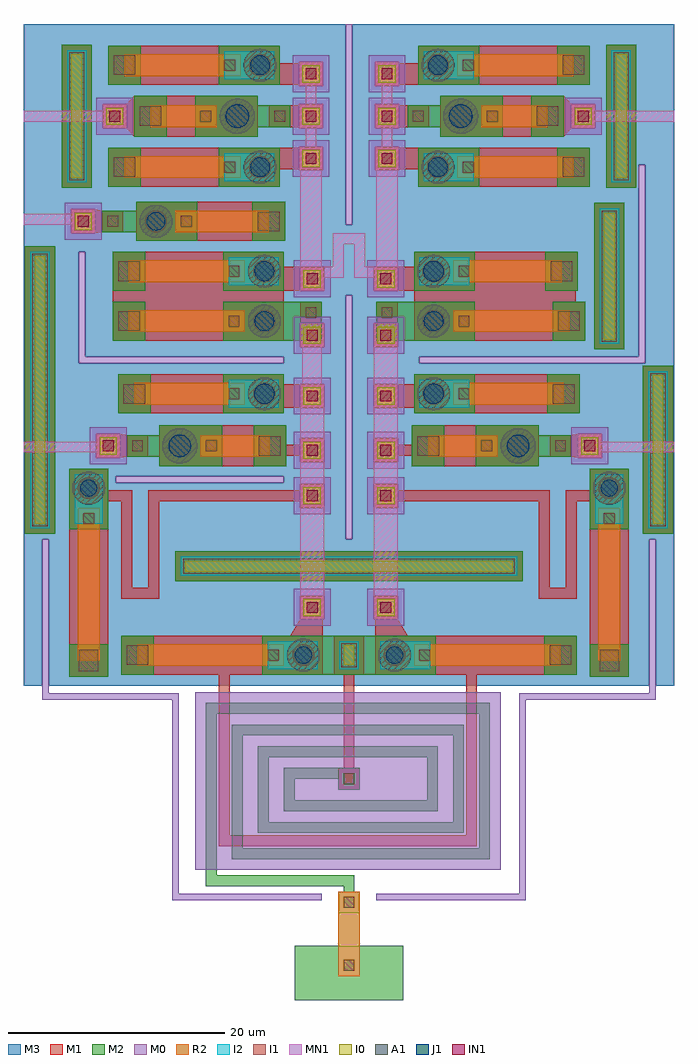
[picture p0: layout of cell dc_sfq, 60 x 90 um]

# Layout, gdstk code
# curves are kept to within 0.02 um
from math import pi, radians
import gdstk
lib = gdstk.Library(unit=1e-6, precision=1e-09)
def R(c, l, rs):  # rectangles x0, y0, x1, y1
    for r in rs: c.add(gdstk.rectangle(r[:2], r[2:], *l))
def P(c, l, *ps):  # polygons
    for p in ps: c.add(gdstk.Polygon(p, *l))
M1 = (1, 0)
I1 = (3, 0)
J1 = (4, 0)
A1 = (5, 0)
M2 = (6, 0)
I2 = (8, 0)
R2 = (9, 0)
M3 = (10, 0)
M0 = (30, 0)
I0 = (31, 0)
IN1 = (32, 0)
MN1 = (34, 0)

ak_qc6vm21 = lib.new_cell('ak_qc6vm21')
R(ak_qc6vm21, M1, [(-1,-1,1,1)])
R(ak_qc6vm21, I1, [(-0.5,-0.5,0.5,0.5)])
R(ak_qc6vm21, M2, [(-1,-1,1,1)])

ak_qc6p03r90 = lib.new_cell('ak_qc6p03r90')
R(ak_qc6p03r90, I1, [(-0.9,-11.2,0.9,-9.2), (-0.5,-1.5,0.5,-0.5)])
R(ak_qc6p03r90, M2, [(-1.4,-11.7,1.4,-8.7), (-1.4,-2,1.4,0)])
R(ak_qc6p03r90, R2, [(-1,-10.2,1,0)])

ak_qc6p02j14 = lib.new_cell('ak_qc6p02j14')
P(ak_qc6p02j14, M1, [(-0.031,-1.8),(-0.374,-1.761),(-0.703,-1.657),(-1.007,-1.492),(-1.273,-1.273),(-1.51,-0.98),(-1.669,-0.674),(-1.773,-0.313),(-1.8,0.031),(-1.761,0.374),(-1.657,0.703),(-1.492,1.007),(-1.273,1.273),(-0.98,1.51),(-0.674,1.669),(-0.313,1.773),(0.031,1.8),(0.374,1.761),(0.703,1.657),(1.007,1.492),(1.273,1.273),(1.51,0.98),(1.669,0.674),(1.773,0.313),(1.8,-0.031),(1.761,-0.374),(1.657,-0.703),(1.492,-1.007),(1.273,-1.273),(0.98,-1.51),(0.674,-1.669),(0.313,-1.773)])
P(ak_qc6p02j14, I1, [(-0.017,-1),(-0.391,-0.921),(-0.719,-0.695),(-0.921,-0.391),(-0.982,-0.191),(-1,0.017),(-0.921,0.391),(-0.695,0.719),(-0.391,0.921),(-0.191,0.982),(0.017,1),(0.391,0.921),(0.719,0.695),(0.921,0.391),(0.982,0.191),(1,-0.017),(0.921,-0.391),(0.695,-0.719),(0.391,-0.921),(0.191,-0.982)])
P(ak_qc6p02j14, J1, [(-0.16,-0.92),(-0.52,-0.78),(-0.8,-0.48),(-0.92,-0.16),(-0.92,0.16),(-0.8,0.48),(-0.54,0.76),(-0.36,0.86),(-0.16,0.92),(0.16,0.92),(0.52,0.78),(0.8,0.48),(0.92,0.16),(0.92,-0.16),(0.8,-0.48),(0.54,-0.76),(0.36,-0.86),(0.16,-0.92)])
P(ak_qc6p02j14, A1, [(-0.026,-1.5),(-0.337,-1.462),(-0.586,-1.381),(-0.839,-1.244),(-1.061,-1.061),(-1.244,-0.839),(-1.391,-0.562),(-1.482,-0.235),(-1.5,0.026),(-1.462,0.337),(-1.381,0.586),(-1.244,0.839),(-1.061,1.061),(-0.839,1.244),(-0.562,1.391),(-0.235,1.482),(0.026,1.5),(0.337,1.462),(0.586,1.381),(0.839,1.244),(1.061,1.061),(1.244,0.839),(1.391,0.562),(1.482,0.235),(1.5,-0.026),(1.462,-0.337),(1.381,-0.586),(1.244,-0.839),(1.061,-1.061),(0.839,-1.244),(0.562,-1.391),(0.235,-1.482)])
P(ak_qc6p02j14, M2, [(-0.031,-1.8),(-0.374,-1.761),(-0.703,-1.657),(-1.007,-1.492),(-1.273,-1.273),(-1.51,-0.98),(-1.669,-0.674),(-1.773,-0.313),(-1.8,0.031),(-1.761,0.374),(-1.657,0.703),(-1.492,1.007),(-1.273,1.273),(-0.98,1.51),(-0.674,1.669),(-0.313,1.773),(0.031,1.8),(0.374,1.761),(0.703,1.657),(1.007,1.492),(1.273,1.273),(1.51,0.98),(1.669,0.674),(1.773,0.313),(1.8,-0.031),(1.761,-0.374),(1.657,-0.703),(1.492,-1.007),(1.273,-1.273),(0.98,-1.51),(0.674,-1.669),(0.313,-1.773)])

ak_qc6p02j14s = lib.new_cell('ak_qc6p02j14s')
R(ak_qc6p02j14s, M1, [(-1.8,-13.5,1.8,1.8)])
R(ak_qc6p02j14s, M2, [(-1.8,-13.5,1.8,-10.5), (-1.8,-3.8,1.8,1.8)])
ak_qc6p02j14s.add(gdstk.Reference(ak_qc6p03r90, (0,-1.8)))
ak_qc6p02j14s.add(gdstk.Reference(ak_qc6p02j14, (0,0)))

ak_qc6p02j14sgu = lib.new_cell('ak_qc6p02j14sgu')
R(ak_qc6p02j14sgu, I2, [(-1.3,-3.3,1.3,1.3)])
R(ak_qc6p02j14sgu, M3, [(-1.8,-3.8,1.8,1.8)])
ak_qc6p02j14sgu.add(gdstk.Reference(ak_qc6p02j14s, (0,0)))

ak_qc6vm2r2 = lib.new_cell('ak_qc6vm2r2')
R(ak_qc6vm2r2, I1, [(-0.5,-0.5,0.5,0.5)])
R(ak_qc6vm2r2, M2, [(-1,-1,1,1)])
R(ak_qc6vm2r2, R2, [(-1,-1,1,1)])

ak_qc6mon11 = lib.new_cell('ak_qc6mon11')
R(ak_qc6mon11, M2, [(-5,5,5,10)])
ak_qc6mon11.add(gdstk.FlexPath([(0,2),(0,5.8)], 2, ends="flush", simple_path=True, layer=9, datatype=0))  # R2
ak_qc6mon11.add(gdstk.Reference(ak_qc6vm2r2, (0,6.8), rotation=pi))
ak_qc6mon11.add(gdstk.Reference(ak_qc6vm2r2, (0,1), rotation=pi))

ak_qc6vm1mn1 = lib.new_cell('ak_qc6vm1mn1')
R(ak_qc6vm1mn1, M1, [(-1.1,-1.1,1.1,1.1)])
R(ak_qc6vm1mn1, I0, [(-0.8,-0.8,0.8,0.8)])
R(ak_qc6vm1mn1, IN1, [(-0.5,-0.5,0.5,0.5)])
R(ak_qc6vm1mn1, MN1, [(-1.1,-1.1,1.1,1.1)])
ak_qc6vm1mn1.add(gdstk.FlexPath([(-1.4,1.7),(-1.4,-1.4),(1.4,-1.4),(1.4,1.4),(-1.1,1.4)], 0.6, ends="flush", simple_path=True, layer=30, datatype=0))  # M0

ak_qc6p05r84 = lib.new_cell('ak_qc6p05r84')
R(ak_qc6p05r84, I1, [(-0.9,-15.1,0.9,-13.1), (-0.5,-1.5,0.5,-0.5)])
R(ak_qc6p05r84, M2, [(-1.4,-15.6,1.4,-12.6), (-1.4,-2,1.4,0)])
R(ak_qc6p05r84, R2, [(-1,-14.1,1,0)])

ak_qc6p01j43 = lib.new_cell('ak_qc6p01j43')
P(ak_qc6p01j43, M1, [(-0.031,-1.8),(-0.374,-1.761),(-0.703,-1.657),(-1.007,-1.492),(-1.273,-1.273),(-1.51,-0.98),(-1.669,-0.674),(-1.773,-0.313),(-1.8,0.031),(-1.761,0.374),(-1.657,0.703),(-1.492,1.007),(-1.273,1.273),(-0.98,1.51),(-0.674,1.669),(-0.313,1.773),(0.031,1.8),(0.374,1.761),(0.703,1.657),(1.007,1.492),(1.273,1.273),(1.51,0.98),(1.669,0.674),(1.773,0.313),(1.8,-0.031),(1.761,-0.374),(1.657,-0.703),(1.492,-1.007),(1.273,-1.273),(0.98,-1.51),(0.674,-1.669),(0.313,-1.773)])
P(ak_qc6p01j43, I1, [(-0.017,-1),(-0.391,-0.921),(-0.719,-0.695),(-0.921,-0.391),(-0.982,-0.191),(-1,0.017),(-0.921,0.391),(-0.695,0.719),(-0.391,0.921),(-0.191,0.982),(0.017,1),(0.391,0.921),(0.719,0.695),(0.921,0.391),(0.982,0.191),(1,-0.017),(0.921,-0.391),(0.695,-0.719),(0.391,-0.921),(0.191,-0.982)])
P(ak_qc6p01j43, J1, [(-0.08,-0.78),(-0.26,-0.74),(-0.42,-0.66),(-0.6,-0.5),(-0.76,-0.18),(-0.78,0.08),(-0.74,0.26),(-0.64,0.46),(-0.44,0.64),(-0.26,0.74),(0.08,0.78),(0.26,0.74),(0.42,0.66),(0.66,0.42),(0.76,0.18),(0.78,-0.08),(0.66,-0.42),(0.52,-0.58),(0.3,-0.72),(0.08,-0.78)])
P(ak_qc6p01j43, A1, [(-0.026,-1.5),(-0.337,-1.462),(-0.586,-1.381),(-0.839,-1.244),(-1.061,-1.061),(-1.244,-0.839),(-1.391,-0.562),(-1.482,-0.235),(-1.5,0.026),(-1.462,0.337),(-1.381,0.586),(-1.244,0.839),(-1.061,1.061),(-0.839,1.244),(-0.562,1.391),(-0.235,1.482),(0.026,1.5),(0.337,1.462),(0.586,1.381),(0.839,1.244),(1.061,1.061),(1.244,0.839),(1.391,0.562),(1.482,0.235),(1.5,-0.026),(1.462,-0.337),(1.381,-0.586),(1.244,-0.839),(1.061,-1.061),(0.839,-1.244),(0.562,-1.391),(0.235,-1.482)])
P(ak_qc6p01j43, M2, [(-0.031,-1.8),(-0.374,-1.761),(-0.703,-1.657),(-1.007,-1.492),(-1.273,-1.273),(-1.51,-0.98),(-1.669,-0.674),(-1.773,-0.313),(-1.8,0.031),(-1.761,0.374),(-1.657,0.703),(-1.492,1.007),(-1.273,1.273),(-0.98,1.51),(-0.674,1.669),(-0.313,1.773),(0.031,1.8),(0.374,1.761),(0.703,1.657),(1.007,1.492),(1.273,1.273),(1.51,0.98),(1.669,0.674),(1.773,0.313),(1.8,-0.031),(1.761,-0.374),(1.657,-0.703),(1.492,-1.007),(1.273,-1.273),(0.98,-1.51),(0.674,-1.669),(0.313,-1.773)])

ak_qc6p01j43s = lib.new_cell('ak_qc6p01j43s')
R(ak_qc6p01j43s, M1, [(-1.8,-17.4,1.8,1.8)])
R(ak_qc6p01j43s, M2, [(-1.8,-17.4,1.8,-14.4), (-1.8,-3.8,1.8,1.8)])
ak_qc6p01j43s.add(gdstk.Reference(ak_qc6p05r84, (0,-1.8)))
ak_qc6p01j43s.add(gdstk.Reference(ak_qc6p01j43, (0,0)))

ak_qc6p01j43sgu = lib.new_cell('ak_qc6p01j43sgu')
R(ak_qc6p01j43sgu, I2, [(-1.3,-3.3,1.3,1.3)])
R(ak_qc6p01j43sgu, M3, [(-1.8,-3.8,1.8,1.8)])
ak_qc6p01j43sgu.add(gdstk.Reference(ak_qc6p01j43s, (0,0)))

ak_qc6p04r17 = lib.new_cell('ak_qc6p04r17')
R(ak_qc6p04r17, I1, [(-0.9,-11.7,0.9,-9.7), (-0.5,-1.5,0.5,-0.5)])
R(ak_qc6p04r17, M2, [(-1.4,-12.2,1.4,-9.2), (-1.4,-2,1.4,0)])
R(ak_qc6p04r17, R2, [(-1,-10.7,1,0)])

ak_qc6p02j00 = lib.new_cell('ak_qc6p02j00')
P(ak_qc6p02j00, M1, [(-0.031,-1.8),(-0.374,-1.761),(-0.703,-1.657),(-1.007,-1.492),(-1.273,-1.273),(-1.51,-0.98),(-1.669,-0.674),(-1.773,-0.313),(-1.8,0.031),(-1.761,0.374),(-1.657,0.703),(-1.492,1.007),(-1.273,1.273),(-0.98,1.51),(-0.674,1.669),(-0.313,1.773),(0.031,1.8),(0.374,1.761),(0.703,1.657),(1.007,1.492),(1.273,1.273),(1.51,0.98),(1.669,0.674),(1.773,0.313),(1.8,-0.031),(1.761,-0.374),(1.657,-0.703),(1.492,-1.007),(1.273,-1.273),(0.98,-1.51),(0.674,-1.669),(0.313,-1.773)])
P(ak_qc6p02j00, I1, [(-0.017,-1),(-0.391,-0.921),(-0.719,-0.695),(-0.921,-0.391),(-0.982,-0.191),(-1,0.017),(-0.921,0.391),(-0.695,0.719),(-0.391,0.921),(-0.191,0.982),(0.017,1),(0.391,0.921),(0.719,0.695),(0.921,0.391),(0.982,0.191),(1,-0.017),(0.921,-0.391),(0.695,-0.719),(0.391,-0.921),(0.191,-0.982)])
P(ak_qc6p02j00, J1, [(-0.12,-0.9),(-0.5,-0.76),(-0.74,-0.52),(-0.86,-0.28),(-0.9,-0.12),(-0.9,0.12),(-0.78,0.46),(-0.52,0.74),(-0.22,0.88),(0.1,0.9),(0.46,0.78),(0.72,0.54),(0.88,0.22),(0.9,-0.1),(0.84,-0.34),(0.76,-0.5),(0.54,-0.72),(0.38,-0.82),(0.2,-0.88)])
P(ak_qc6p02j00, A1, [(-0.026,-1.5),(-0.337,-1.462),(-0.586,-1.381),(-0.839,-1.244),(-1.061,-1.061),(-1.244,-0.839),(-1.391,-0.562),(-1.482,-0.235),(-1.5,0.026),(-1.462,0.337),(-1.381,0.586),(-1.244,0.839),(-1.061,1.061),(-0.839,1.244),(-0.562,1.391),(-0.235,1.482),(0.026,1.5),(0.337,1.462),(0.586,1.381),(0.839,1.244),(1.061,1.061),(1.244,0.839),(1.391,0.562),(1.482,0.235),(1.5,-0.026),(1.462,-0.337),(1.381,-0.586),(1.244,-0.839),(1.061,-1.061),(0.839,-1.244),(0.562,-1.391),(0.235,-1.482)])
P(ak_qc6p02j00, M2, [(-0.031,-1.8),(-0.374,-1.761),(-0.703,-1.657),(-1.007,-1.492),(-1.273,-1.273),(-1.51,-0.98),(-1.669,-0.674),(-1.773,-0.313),(-1.8,0.031),(-1.761,0.374),(-1.657,0.703),(-1.492,1.007),(-1.273,1.273),(-0.98,1.51),(-0.674,1.669),(-0.313,1.773),(0.031,1.8),(0.374,1.761),(0.703,1.657),(1.007,1.492),(1.273,1.273),(1.51,0.98),(1.669,0.674),(1.773,0.313),(1.8,-0.031),(1.761,-0.374),(1.657,-0.703),(1.492,-1.007),(1.273,-1.273),(0.98,-1.51),(0.674,-1.669),(0.313,-1.773)])

ak_qc6p02j00s = lib.new_cell('ak_qc6p02j00s')
R(ak_qc6p02j00s, M1, [(-1.8,-14,1.8,1.8)])
R(ak_qc6p02j00s, M2, [(-1.8,-14,1.8,-11), (-1.8,-3.8,1.8,1.8)])
ak_qc6p02j00s.add(gdstk.Reference(ak_qc6p04r17, (0,-1.8)))
ak_qc6p02j00s.add(gdstk.Reference(ak_qc6p02j00, (0,0)))

ak_qc6p02j00sgu = lib.new_cell('ak_qc6p02j00sgu')
R(ak_qc6p02j00sgu, I2, [(-1.3,-3.3,1.3,1.3)])
R(ak_qc6p02j00sgu, M3, [(-1.8,-3.8,1.8,1.8)])
ak_qc6p02j00sgu.add(gdstk.Reference(ak_qc6p02j00s, (0,0)))

ak_qc6p02r01 = lib.new_cell('ak_qc6p02r01')
R(ak_qc6p02r01, I1, [(-0.9,-7.4,0.9,-5.4), (-0.5,-1.5,0.5,-0.5)])
R(ak_qc6p02r01, M2, [(-1.4,-7.9,1.4,-4.9), (-1.4,-2,1.4,0)])
R(ak_qc6p02r01, R2, [(-1,-6.4,1,0)])

ak_qc6p02j77 = lib.new_cell('ak_qc6p02j77')
P(ak_qc6p02j77, M1, [(-0.033,-1.9),(-0.363,-1.865),(-0.712,-1.762),(-1.035,-1.593),(-1.344,-1.344),(-1.593,-1.035),(-1.762,-0.712),(-1.865,-0.363),(-1.9,0.033),(-1.865,0.363),(-1.762,0.712),(-1.593,1.035),(-1.344,1.344),(-1.035,1.593),(-0.712,1.762),(-0.363,1.865),(0.033,1.9),(0.363,1.865),(0.712,1.762),(1.035,1.593),(1.344,1.344),(1.593,1.035),(1.762,0.712),(1.865,0.363),(1.9,-0.033),(1.865,-0.363),(1.762,-0.712),(1.593,-1.035),(1.344,-1.344),(1.035,-1.593),(0.712,-1.762),(0.363,-1.865)])
P(ak_qc6p02j77, I1, [(-0.017,-1),(-0.391,-0.921),(-0.719,-0.695),(-0.921,-0.391),(-0.982,-0.191),(-1,0.017),(-0.921,0.391),(-0.695,0.719),(-0.391,0.921),(-0.191,0.982),(0.017,1),(0.391,0.921),(0.719,0.695),(0.921,0.391),(0.982,0.191),(1,-0.017),(0.921,-0.391),(0.695,-0.719),(0.391,-0.921),(0.191,-0.982)])
P(ak_qc6p02j77, J1, [(-0.12,-1.04),(-0.32,-1),(-0.5,-0.92),(-0.6,-0.86),(-0.84,-0.62),(-0.96,-0.42),(-1.02,-0.24),(-1.04,0.14),(-0.9,0.54),(-0.62,0.84),(-0.42,0.96),(-0.24,1.02),(0.12,1.04),(0.54,0.9),(0.82,0.64),(0.92,0.5),(1,0.3),(1.04,0.12),(1.04,-0.12),(0.92,-0.5),(0.86,-0.6),(0.64,-0.82),(0.3,-1),(0.12,-1.04)])
P(ak_qc6p02j77, A1, [(-0.028,-1.6),(-0.333,-1.565),(-0.651,-1.462),(-0.918,-1.311),(-1.151,-1.111),(-1.357,-0.848),(-1.494,-0.573),(-1.576,-0.278),(-1.6,0.028),(-1.565,0.333),(-1.462,0.651),(-1.311,0.918),(-1.111,1.151),(-0.848,1.357),(-0.573,1.494),(-0.278,1.576),(0.028,1.6),(0.333,1.565),(0.651,1.462),(0.918,1.311),(1.151,1.111),(1.357,0.848),(1.494,0.573),(1.576,0.278),(1.6,-0.028),(1.565,-0.333),(1.462,-0.651),(1.311,-0.918),(1.111,-1.151),(0.848,-1.357),(0.573,-1.494),(0.278,-1.576)])
P(ak_qc6p02j77, M2, [(-0.033,-1.9),(-0.363,-1.865),(-0.712,-1.762),(-1.035,-1.593),(-1.344,-1.344),(-1.593,-1.035),(-1.762,-0.712),(-1.865,-0.363),(-1.9,0.033),(-1.865,0.363),(-1.762,0.712),(-1.593,1.035),(-1.344,1.344),(-1.035,1.593),(-0.712,1.762),(-0.363,1.865),(0.033,1.9),(0.363,1.865),(0.712,1.762),(1.035,1.593),(1.344,1.344),(1.593,1.035),(1.762,0.712),(1.865,0.363),(1.9,-0.033),(1.865,-0.363),(1.762,-0.712),(1.593,-1.035),(1.344,-1.344),(1.035,-1.593),(0.712,-1.762),(0.363,-1.865)])

ak_qc6p02j77s0v70 = lib.new_cell('ak_qc6p02j77s0v70')
R(ak_qc6p02j77s0v70, M1, [(-1.9,-9.8,1.9,1.9)])
R(ak_qc6p02j77s0v70, M2, [(-1.9,-9.8,1.9,-6.8), (-1.9,-3.9,1.9,1.9)])
ak_qc6p02j77s0v70.add(gdstk.Reference(ak_qc6p02r01, (0,-1.9)))
ak_qc6p02j77s0v70.add(gdstk.Reference(ak_qc6p02j77, (0,0)))

ak_qc6p05r57 = lib.new_cell('ak_qc6p05r57')
R(ak_qc6p05r57, I1, [(-0.9,-14.5,0.9,-12.5), (-0.5,-1.5,0.5,-0.5)])
R(ak_qc6p05r57, M2, [(-1.4,-15,1.4,-12), (-1.4,-2,1.4,0)])
R(ak_qc6p05r57, R2, [(-1,-13.5,1,0)])

ak_qc6p01j50 = lib.new_cell('ak_qc6p01j50')
P(ak_qc6p01j50, M1, [(-0.031,-1.8),(-0.374,-1.761),(-0.703,-1.657),(-1.007,-1.492),(-1.273,-1.273),(-1.51,-0.98),(-1.669,-0.674),(-1.773,-0.313),(-1.8,0.031),(-1.761,0.374),(-1.657,0.703),(-1.492,1.007),(-1.273,1.273),(-0.98,1.51),(-0.674,1.669),(-0.313,1.773),(0.031,1.8),(0.374,1.761),(0.703,1.657),(1.007,1.492),(1.273,1.273),(1.51,0.98),(1.669,0.674),(1.773,0.313),(1.8,-0.031),(1.761,-0.374),(1.657,-0.703),(1.492,-1.007),(1.273,-1.273),(0.98,-1.51),(0.674,-1.669),(0.313,-1.773)])
P(ak_qc6p01j50, I1, [(-0.017,-1),(-0.391,-0.921),(-0.719,-0.695),(-0.921,-0.391),(-0.982,-0.191),(-1,0.017),(-0.921,0.391),(-0.695,0.719),(-0.391,0.921),(-0.191,0.982),(0.017,1),(0.391,0.921),(0.719,0.695),(0.921,0.391),(0.982,0.191),(1,-0.017),(0.921,-0.391),(0.695,-0.719),(0.391,-0.921),(0.191,-0.982)])
P(ak_qc6p01j50, J1, [(-0.04,-0.8),(-0.3,-0.74),(-0.48,-0.64),(-0.6,-0.52),(-0.76,-0.24),(-0.8,0.04),(-0.74,0.3),(-0.64,0.48),(-0.52,0.6),(-0.24,0.76),(0.04,0.8),(0.3,0.74),(0.48,0.64),(0.6,0.52),(0.76,0.24),(0.8,-0.04),(0.74,-0.3),(0.64,-0.48),(0.52,-0.6),(0.24,-0.76)])
P(ak_qc6p01j50, A1, [(-0.026,-1.5),(-0.337,-1.462),(-0.586,-1.381),(-0.839,-1.244),(-1.061,-1.061),(-1.244,-0.839),(-1.391,-0.562),(-1.482,-0.235),(-1.5,0.026),(-1.462,0.337),(-1.381,0.586),(-1.244,0.839),(-1.061,1.061),(-0.839,1.244),(-0.562,1.391),(-0.235,1.482),(0.026,1.5),(0.337,1.462),(0.586,1.381),(0.839,1.244),(1.061,1.061),(1.244,0.839),(1.391,0.562),(1.482,0.235),(1.5,-0.026),(1.462,-0.337),(1.381,-0.586),(1.244,-0.839),(1.061,-1.061),(0.839,-1.244),(0.562,-1.391),(0.235,-1.482)])
P(ak_qc6p01j50, M2, [(-0.031,-1.8),(-0.374,-1.761),(-0.703,-1.657),(-1.007,-1.492),(-1.273,-1.273),(-1.51,-0.98),(-1.669,-0.674),(-1.773,-0.313),(-1.8,0.031),(-1.761,0.374),(-1.657,0.703),(-1.492,1.007),(-1.273,1.273),(-0.98,1.51),(-0.674,1.669),(-0.313,1.773),(0.031,1.8),(0.374,1.761),(0.703,1.657),(1.007,1.492),(1.273,1.273),(1.51,0.98),(1.669,0.674),(1.773,0.313),(1.8,-0.031),(1.761,-0.374),(1.657,-0.703),(1.492,-1.007),(1.273,-1.273),(0.98,-1.51),(0.674,-1.669),(0.313,-1.773)])

ak_qc6p01j50s = lib.new_cell('ak_qc6p01j50s')
R(ak_qc6p01j50s, M1, [(-1.8,-16.8,1.8,1.8)])
R(ak_qc6p01j50s, M2, [(-1.8,-16.8,1.8,-13.8), (-1.8,-3.8,1.8,1.8)])
ak_qc6p01j50s.add(gdstk.Reference(ak_qc6p05r57, (0,-1.8)))
ak_qc6p01j50s.add(gdstk.Reference(ak_qc6p01j50, (0,0)))

ak_qc6p01j50sgu = lib.new_cell('ak_qc6p01j50sgu')
R(ak_qc6p01j50sgu, I2, [(-1.3,-3.3,1.3,1.3)])
R(ak_qc6p01j50sgu, M3, [(-1.8,-3.8,1.8,1.8)])
ak_qc6p01j50sgu.add(gdstk.Reference(ak_qc6p01j50s, (0,0)))

ak_qc6p03r79 = lib.new_cell('ak_qc6p03r79')
R(ak_qc6p03r79, I1, [(-0.9,-11,0.9,-9), (-0.5,-1.5,0.5,-0.5)])
R(ak_qc6p03r79, M2, [(-1.4,-11.5,1.4,-8.5), (-1.4,-2,1.4,0)])
R(ak_qc6p03r79, R2, [(-1,-10,1,0)])

ak_qc6p02j20 = lib.new_cell('ak_qc6p02j20')
P(ak_qc6p02j20, M1, [(-0.031,-1.8),(-0.374,-1.761),(-0.703,-1.657),(-1.007,-1.492),(-1.273,-1.273),(-1.51,-0.98),(-1.669,-0.674),(-1.773,-0.313),(-1.8,0.031),(-1.761,0.374),(-1.657,0.703),(-1.492,1.007),(-1.273,1.273),(-0.98,1.51),(-0.674,1.669),(-0.313,1.773),(0.031,1.8),(0.374,1.761),(0.703,1.657),(1.007,1.492),(1.273,1.273),(1.51,0.98),(1.669,0.674),(1.773,0.313),(1.8,-0.031),(1.761,-0.374),(1.657,-0.703),(1.492,-1.007),(1.273,-1.273),(0.98,-1.51),(0.674,-1.669),(0.313,-1.773)])
P(ak_qc6p02j20, I1, [(-0.017,-1),(-0.391,-0.921),(-0.719,-0.695),(-0.921,-0.391),(-0.982,-0.191),(-1,0.017),(-0.921,0.391),(-0.695,0.719),(-0.391,0.921),(-0.191,0.982),(0.017,1),(0.391,0.921),(0.719,0.695),(0.921,0.391),(0.982,0.191),(1,-0.017),(0.921,-0.391),(0.695,-0.719),(0.391,-0.921),(0.191,-0.982)])
P(ak_qc6p02j20, J1, [(-0.1,-0.94),(-0.44,-0.84),(-0.76,-0.56),(-0.92,-0.22),(-0.94,0.1),(-0.88,0.34),(-0.78,0.54),(-0.6,0.72),(-0.5,0.8),(-0.28,0.9),(-0.1,0.94),(0.1,0.94),(0.44,0.84),(0.76,0.56),(0.92,0.22),(0.94,-0.1),(0.88,-0.34),(0.78,-0.54),(0.6,-0.72),(0.5,-0.8),(0.28,-0.9),(0.1,-0.94)])
P(ak_qc6p02j20, A1, [(-0.026,-1.5),(-0.337,-1.462),(-0.586,-1.381),(-0.839,-1.244),(-1.061,-1.061),(-1.244,-0.839),(-1.391,-0.562),(-1.482,-0.235),(-1.5,0.026),(-1.462,0.337),(-1.381,0.586),(-1.244,0.839),(-1.061,1.061),(-0.839,1.244),(-0.562,1.391),(-0.235,1.482),(0.026,1.5),(0.337,1.462),(0.586,1.381),(0.839,1.244),(1.061,1.061),(1.244,0.839),(1.391,0.562),(1.482,0.235),(1.5,-0.026),(1.462,-0.337),(1.381,-0.586),(1.244,-0.839),(1.061,-1.061),(0.839,-1.244),(0.562,-1.391),(0.235,-1.482)])
P(ak_qc6p02j20, M2, [(-0.031,-1.8),(-0.374,-1.761),(-0.703,-1.657),(-1.007,-1.492),(-1.273,-1.273),(-1.51,-0.98),(-1.669,-0.674),(-1.773,-0.313),(-1.8,0.031),(-1.761,0.374),(-1.657,0.703),(-1.492,1.007),(-1.273,1.273),(-0.98,1.51),(-0.674,1.669),(-0.313,1.773),(0.031,1.8),(0.374,1.761),(0.703,1.657),(1.007,1.492),(1.273,1.273),(1.51,0.98),(1.669,0.674),(1.773,0.313),(1.8,-0.031),(1.761,-0.374),(1.657,-0.703),(1.492,-1.007),(1.273,-1.273),(0.98,-1.51),(0.674,-1.669),(0.313,-1.773)])

ak_qc6p02j20s = lib.new_cell('ak_qc6p02j20s')
R(ak_qc6p02j20s, M1, [(-1.8,-13.3,1.8,1.8)])
R(ak_qc6p02j20s, M2, [(-1.8,-13.3,1.8,-10.3), (-1.8,-3.8,1.8,1.8)])
ak_qc6p02j20s.add(gdstk.Reference(ak_qc6p03r79, (0,-1.8)))
ak_qc6p02j20s.add(gdstk.Reference(ak_qc6p02j20, (0,0)))

ak_qc6p02j20sgu = lib.new_cell('ak_qc6p02j20sgu')
R(ak_qc6p02j20sgu, I2, [(-1.3,-3.3,1.3,1.3)])
R(ak_qc6p02j20sgu, M3, [(-1.8,-3.8,1.8,1.8)])
ak_qc6p02j20sgu.add(gdstk.Reference(ak_qc6p02j20s, (0,0)))

ak_qc6p03r11 = lib.new_cell('ak_qc6p03r11')
R(ak_qc6p03r11, I1, [(-0.9,-9.6,0.9,-7.6), (-0.5,-1.5,0.5,-0.5)])
R(ak_qc6p03r11, M2, [(-1.4,-10.1,1.4,-7.1), (-1.4,-2,1.4,0)])
R(ak_qc6p03r11, R2, [(-1,-8.6,1,0)])

ak_qc6p01j79 = lib.new_cell('ak_qc6p01j79')
P(ak_qc6p01j79, M1, [(-0.031,-1.8),(-0.374,-1.761),(-0.703,-1.657),(-1.007,-1.492),(-1.273,-1.273),(-1.51,-0.98),(-1.669,-0.674),(-1.773,-0.313),(-1.8,0.031),(-1.761,0.374),(-1.657,0.703),(-1.492,1.007),(-1.273,1.273),(-0.98,1.51),(-0.674,1.669),(-0.313,1.773),(0.031,1.8),(0.374,1.761),(0.703,1.657),(1.007,1.492),(1.273,1.273),(1.51,0.98),(1.669,0.674),(1.773,0.313),(1.8,-0.031),(1.761,-0.374),(1.657,-0.703),(1.492,-1.007),(1.273,-1.273),(0.98,-1.51),(0.674,-1.669),(0.313,-1.773)])
P(ak_qc6p01j79, I1, [(-0.017,-1),(-0.391,-0.921),(-0.719,-0.695),(-0.921,-0.391),(-0.982,-0.191),(-1,0.017),(-0.921,0.391),(-0.695,0.719),(-0.391,0.921),(-0.191,0.982),(0.017,1),(0.391,0.921),(0.719,0.695),(0.921,0.391),(0.982,0.191),(1,-0.017),(0.921,-0.391),(0.695,-0.719),(0.391,-0.921),(0.191,-0.982)])
P(ak_qc6p01j79, J1, [(-0.1,-0.86),(-0.48,-0.72),(-0.68,-0.52),(-0.84,-0.2),(-0.86,0.08),(-0.82,0.28),(-0.74,0.44),(-0.5,0.7),(-0.2,0.84),(0.08,0.86),(0.44,0.74),(0.7,0.5),(0.84,0.2),(0.86,-0.08),(0.8,-0.32),(0.72,-0.48),(0.5,-0.7),(0.26,-0.82)])
P(ak_qc6p01j79, A1, [(-0.026,-1.5),(-0.337,-1.462),(-0.586,-1.381),(-0.839,-1.244),(-1.061,-1.061),(-1.244,-0.839),(-1.391,-0.562),(-1.482,-0.235),(-1.5,0.026),(-1.462,0.337),(-1.381,0.586),(-1.244,0.839),(-1.061,1.061),(-0.839,1.244),(-0.562,1.391),(-0.235,1.482),(0.026,1.5),(0.337,1.462),(0.586,1.381),(0.839,1.244),(1.061,1.061),(1.244,0.839),(1.391,0.562),(1.482,0.235),(1.5,-0.026),(1.462,-0.337),(1.381,-0.586),(1.244,-0.839),(1.061,-1.061),(0.839,-1.244),(0.562,-1.391),(0.235,-1.482)])
P(ak_qc6p01j79, M2, [(-0.031,-1.8),(-0.374,-1.761),(-0.703,-1.657),(-1.007,-1.492),(-1.273,-1.273),(-1.51,-0.98),(-1.669,-0.674),(-1.773,-0.313),(-1.8,0.031),(-1.761,0.374),(-1.657,0.703),(-1.492,1.007),(-1.273,1.273),(-0.98,1.51),(-0.674,1.669),(-0.313,1.773),(0.031,1.8),(0.374,1.761),(0.703,1.657),(1.007,1.492),(1.273,1.273),(1.51,0.98),(1.669,0.674),(1.773,0.313),(1.8,-0.031),(1.761,-0.374),(1.657,-0.703),(1.492,-1.007),(1.273,-1.273),(0.98,-1.51),(0.674,-1.669),(0.313,-1.773)])

ak_qc6p01j79s0v70 = lib.new_cell('ak_qc6p01j79s0v70')
R(ak_qc6p01j79s0v70, M1, [(-1.8,-11.9,1.8,1.8)])
R(ak_qc6p01j79s0v70, M2, [(-1.8,-11.9,1.8,-8.9), (-1.8,-3.8,1.8,1.8)])
ak_qc6p01j79s0v70.add(gdstk.Reference(ak_qc6p03r11, (0,-1.8)))
ak_qc6p01j79s0v70.add(gdstk.Reference(ak_qc6p01j79, (0,0)))

ak_qc6p01r86 = lib.new_cell('ak_qc6p01r86')
R(ak_qc6p01r86, I1, [(-0.9,-7.1,0.9,-5.1), (-0.5,-1.5,0.5,-0.5)])
R(ak_qc6p01r86, M2, [(-1.4,-7.6,1.4,-4.6), (-1.4,-2,1.4,0)])
R(ak_qc6p01r86, R2, [(-1,-6.1,1,0)])

ak_qc6p03j00 = lib.new_cell('ak_qc6p03j00')
P(ak_qc6p03j00, M1, [(-0.033,-1.9),(-0.363,-1.865),(-0.712,-1.762),(-1.035,-1.593),(-1.344,-1.344),(-1.593,-1.035),(-1.762,-0.712),(-1.865,-0.363),(-1.9,0.033),(-1.865,0.363),(-1.762,0.712),(-1.593,1.035),(-1.344,1.344),(-1.035,1.593),(-0.712,1.762),(-0.363,1.865),(0.033,1.9),(0.363,1.865),(0.712,1.762),(1.035,1.593),(1.344,1.344),(1.593,1.035),(1.762,0.712),(1.865,0.363),(1.9,-0.033),(1.865,-0.363),(1.762,-0.712),(1.593,-1.035),(1.344,-1.344),(1.035,-1.593),(0.712,-1.762),(0.363,-1.865)])
P(ak_qc6p03j00, I1, [(-0.019,-1.1),(-0.229,-1.076),(-0.43,-1.013),(-0.778,-0.778),(-1.013,-0.43),(-1.08,-0.21),(-1.1,0.019),(-1.076,0.229),(-1.013,0.43),(-0.778,0.778),(-0.43,1.013),(-0.21,1.08),(0.019,1.1),(0.229,1.076),(0.43,1.013),(0.778,0.778),(1.013,0.43),(1.08,0.21),(1.1,-0.019),(1.076,-0.229),(1.013,-0.43),(0.778,-0.778),(0.43,-1.013),(0.21,-1.08)])
P(ak_qc6p03j00, J1, [(-0.12,-1.08),(-0.42,-1),(-0.58,-0.92),(-0.86,-0.66),(-1.04,-0.3),(-1.08,0.1),(-1.04,0.32),(-0.94,0.54),(-0.7,0.82),(-0.5,0.96),(-0.3,1.04),(-0.12,1.08),(0.12,1.08),(0.42,1),(0.58,0.92),(0.86,0.66),(1.04,0.3),(1.08,-0.1),(1.04,-0.32),(0.94,-0.54),(0.7,-0.82),(0.5,-0.96),(0.3,-1.04),(0.12,-1.08)])
P(ak_qc6p03j00, A1, [(-0.028,-1.6),(-0.333,-1.565),(-0.651,-1.462),(-0.918,-1.311),(-1.151,-1.111),(-1.357,-0.848),(-1.494,-0.573),(-1.576,-0.278),(-1.6,0.028),(-1.565,0.333),(-1.462,0.651),(-1.311,0.918),(-1.111,1.151),(-0.848,1.357),(-0.573,1.494),(-0.278,1.576),(0.028,1.6),(0.333,1.565),(0.651,1.462),(0.918,1.311),(1.151,1.111),(1.357,0.848),(1.494,0.573),(1.576,0.278),(1.6,-0.028),(1.565,-0.333),(1.462,-0.651),(1.311,-0.918),(1.111,-1.151),(0.848,-1.357),(0.573,-1.494),(0.278,-1.576)])
P(ak_qc6p03j00, M2, [(-0.033,-1.9),(-0.363,-1.865),(-0.712,-1.762),(-1.035,-1.593),(-1.344,-1.344),(-1.593,-1.035),(-1.762,-0.712),(-1.865,-0.363),(-1.9,0.033),(-1.865,0.363),(-1.762,0.712),(-1.593,1.035),(-1.344,1.344),(-1.035,1.593),(-0.712,1.762),(-0.363,1.865),(0.033,1.9),(0.363,1.865),(0.712,1.762),(1.035,1.593),(1.344,1.344),(1.593,1.035),(1.762,0.712),(1.865,0.363),(1.9,-0.033),(1.865,-0.363),(1.762,-0.712),(1.593,-1.035),(1.344,-1.344),(1.035,-1.593),(0.712,-1.762),(0.363,-1.865)])

ak_qc6p03j00s0v70 = lib.new_cell('ak_qc6p03j00s0v70')
R(ak_qc6p03j00s0v70, M1, [(-1.9,-9.5,1.9,1.9)])
R(ak_qc6p03j00s0v70, M2, [(-1.9,-9.5,1.9,-6.5), (-1.9,-3.9,1.9,1.9)])
ak_qc6p03j00s0v70.add(gdstk.Reference(ak_qc6p01r86, (0,-1.9)))
ak_qc6p03j00s0v70.add(gdstk.Reference(ak_qc6p03j00, (0,0)))

ak_qc6ctl000 = lib.new_cell('ak_qc6ctl000')
P(ak_qc6ctl000, M1, [(3.1,16.3),(3.9,17),(6.1,17),(6.9,16.3)])
R(ak_qc6ctl000, M3, [(-1.6,-1.8,11.6,23)])
ak_qc6ctl000.add(gdstk.FlexPath([(11.6,21.6),(-1.6,21.6)], 2.8, ends="flush", simple_path=True, layer=6, datatype=0))  # M2
ak_qc6ctl000.add(gdstk.FlexPath([(5,3.9),(5,4.9)], 2, ends="flush", simple_path=True, layer=6, datatype=0))  # M2
ak_qc6ctl000.add(gdstk.FlexPath([(11.6,21.6),(-1.6,21.6)], 2.8, ends="flush", simple_path=True, layer=1, datatype=0))  # M1
ak_qc6ctl000.add(gdstk.FlexPath([(1.1,1.1),(1.1,2.9)], 2, ends="flush", simple_path=True, layer=1, datatype=0))  # M1
ak_qc6ctl000.add(gdstk.FlexPath([(8.9,1.1),(8.9,2.9)], 2, ends="flush", simple_path=True, layer=1, datatype=0))  # M1
ak_qc6ctl000.add(gdstk.FlexPath([(5,1.9),(5,1.1)], 2, ends="flush", simple_path=True, layer=1, datatype=0))  # M1
ak_qc6ctl000.add(gdstk.FlexPath([(10.9,21.6),(-0.9,21.6)], 1.4, ends="flush", simple_path=True, layer=3, datatype=0))  # I1
ak_qc6ctl000.add(gdstk.FlexPath([(11.1,21.6),(-1.1,21.6)], 1.8, ends="flush", simple_path=True, layer=8, datatype=0))  # I2
ak_qc6ctl000.add(gdstk.FlexPath([(11.6,21.6),(-1.6,21.6)], 2.8, ends="flush", simple_path=True, layer=10, datatype=0))  # M3
ak_qc6ctl000.add(gdstk.FlexPath([(5,17.8),(5,23)], 1, ends="flush", simple_path=True, layer=34, datatype=0))  # MN1
ak_qc6ctl000.add(gdstk.FlexPath([(2.2,0),(3.9,0)], 1, ends="flush", simple_path=True, layer=34, datatype=0))  # MN1
ak_qc6ctl000.add(gdstk.FlexPath([(7.8,0),(6.1,0)], 1, ends="flush", simple_path=True, layer=34, datatype=0))  # MN1
ak_qc6ctl000.add(gdstk.FlexPath([(10.7,21.6),(-0.7,21.6)], 1, ends="flush", simple_path=True, layer=31, datatype=0))  # I0
ak_qc6ctl000.add(gdstk.Reference(ak_qc6vm21, (5,2.9)))
ak_qc6ctl000.add(gdstk.Reference(ak_qc6vm1mn1, (5,18.1)))
ak_qc6ctl000.add(gdstk.Reference(ak_qc6vm1mn1, (8.9,0), rotation=pi, x_reflection=True))
ak_qc6ctl000.add(gdstk.Reference(ak_qc6vm1mn1, (5,0)))
ak_qc6ctl000.add(gdstk.Reference(ak_qc6vm1mn1, (1.1,0)))
ak_qc6ctl000.add(gdstk.Reference(ak_qc6p03j00s0v70, (5,6.8), rotation=pi))
ak_qc6ctl000.add(gdstk.Reference(ak_qc6p02j00sgu, (9.7,4.7), rotation=pi))
ak_qc6ctl000.add(gdstk.Reference(ak_qc6p02j00sgu, (0.3,4.7), x_reflection=True))

dc_sfq = lib.new_cell('dc_sfq')
R(dc_sfq, M1, [(-6,-35.4,-4.5,-33.2), (4.5,-35.4,6,-33.2), (-21.8,-25.6,-6,-24.6), (6,-25.6,20.9,-24.6), (-6,-24.6,-4.5,-22.4), (4.5,-24.6,6,-22.4)])
P(dc_sfq, M1, [(-23.4,-19.3),(-23.4,-17.1),(-22.8,-17.2),(-22.8,-19.2)],
  [(-21.1,-40),(-21.1,-37.8),(-20.5,-37.9),(-20.5,-39.9)],
  [(21.1,-40),(20.5,-39.9),(20.5,-37.9),(21.1,-37.8)],
  [(-5.4,-56.4),(-4.5,-54.9),(-2.4,-54.9),(-2.4,-56.4)],
  [(2.4,-56.4),(2.4,-54.9),(4.5,-54.9),(5.4,-56.4)])
R(dc_sfq, M2, [(-7.7,-60,-1.4,-56.4), (1.4,-60,7.7,-56.4), (-18.5,-39.9,-17.2,-37.9), (17.2,-39.9,18.5,-37.9), (-11.3,-29.2,-2.5,-25.6), (2.5,-29.2,11.3,-25.6), (-20.8,-19.2,-19.6,-17.2)])
P(dc_sfq, M3, [(-30,-61),(-30,0),(-13.7,0),(-13.7,-30.7),(-24.3,-30.7),(-24.3,-21),(-24.9,-21),(-24.9,-31.3),(-13.7,-31.3),(-13.7,-41.7),(-21.5,-41.7),(-21.5,-42.3),(-13.7,-42.3),(-13.7,-61),(-27.7,-61),(-27.7,-47.5),(-28.3,-47.5),(-28.3,-61)],
  [(-13.7,-61),(-13.7,-42.3),(-6,-42.3),(-6,-41.7),(-13.7,-41.7),(-13.7,-31.3),(-6,-31.3),(-6,-30.7),(-13.7,-30.7),(-13.7,0),(-0.3,0),(-0.3,-18.5),(0,-18.5),(0,-25),(-0.3,-25),(-0.3,-47.5),(0,-47.5),(0,-61)],
  [(0,-61),(0,-47.5),(0.3,-47.5),(0.3,-25),(0,-25),(0,-18.5),(0.3,-18.5),(0.3,0),(16.9,0),(16.9,-30.7),(6.5,-30.7),(6.5,-31.3),(16.9,-31.3),(16.9,-61)],
  [(16.9,-61),(16.9,-31.3),(27.3,-31.3),(27.3,-13),(26.7,-13),(26.7,-30.7),(16.9,-30.7),(16.9,0),(30,0),(30,-61),(28.3,-61),(28.3,-47.5),(27.7,-47.5),(27.7,-61)])
R(dc_sfq, M0, [(-14.2,-78,14,-61.6)])
dc_sfq.add(gdstk.FlexPath([(24,-16.5),(24,-30)], 2.8, ends="flush", simple_path=True, layer=6, datatype=0))  # M2
dc_sfq.add(gdstk.FlexPath([(-28.5,-47),(-28.5,-20.5)], 2.8, ends="flush", simple_path=True, layer=6, datatype=0))  # M2
dc_sfq.add(gdstk.FlexPath([(28.5,-47),(28.5,-31.5)], 2.8, ends="flush", simple_path=True, layer=6, datatype=0))  # M2
dc_sfq.add(gdstk.FlexPath([(-16,-50),(16,-50)], 2.8, ends="flush", simple_path=True, layer=6, datatype=0))  # M2
dc_sfq.add(gdstk.FlexPath([(0,-56.4),(0,-60)], 2.8, ends="flush", simple_path=True, layer=6, datatype=0))  # M2
dc_sfq.add(gdstk.FlexPath([(0,-56.4),(0,-60)], 2.8, ends="flush", simple_path=True, layer=6, datatype=0))  # M2
dc_sfq.add(gdstk.FlexPath([(0,-82),(0,-79),(-12.7,-79),(-12.7,-63.1),(12.5,-63.1),(12.5,-76.5),(-10.3,-76.5),(-10.3,-65.1),(10.1,-65.1),(10.1,-74.1),(-7.9,-74.1),(-7.9,-67.1),(7.7,-67.1),(7.7,-72.1),(-5.5,-72.1),(-5.5,-69.1),(0,-69.1)], 1, ends="flush", simple_path=True, layer=6, datatype=0))  # M2
dc_sfq.add(gdstk.FlexPath([(24,-16.5),(24,-30)], 2.8, ends="flush", simple_path=True, layer=1, datatype=0))  # M1
dc_sfq.add(gdstk.FlexPath([(-28.5,-47),(-28.5,-20.5)], 2.8, ends="flush", simple_path=True, layer=1, datatype=0))  # M1
dc_sfq.add(gdstk.FlexPath([(28.5,-47),(28.5,-31.5)], 2.8, ends="flush", simple_path=True, layer=1, datatype=0))  # M1
dc_sfq.add(gdstk.FlexPath([(-4.5,-39.3),(-6,-39.3)], 1, ends="flush", simple_path=True, layer=1, datatype=0))  # M1
dc_sfq.add(gdstk.FlexPath([(4.5,-39.3),(6,-39.3)], 1, ends="flush", simple_path=True, layer=1, datatype=0))  # M1
dc_sfq.add(gdstk.FlexPath([(-4.5,-43.5),(-18,-43.5),(-18,-52.5),(-20.5,-52.5),(-20.5,-43.5),(-22.2,-43.5)], 1, ends="flush", simple_path=True, layer=1, datatype=0))  # M1
dc_sfq.add(gdstk.FlexPath([(4.5,-43.5),(18,-43.5),(18,-52.5),(20.5,-52.5),(20.5,-43.5),(22.2,-43.5)], 1, ends="flush", simple_path=True, layer=1, datatype=0))  # M1
dc_sfq.add(gdstk.FlexPath([(-16,-50),(16,-50)], 2.8, ends="flush", simple_path=True, layer=1, datatype=0))  # M1
dc_sfq.add(gdstk.FlexPath([(0,-56.4),(0,-60)], 2.8, ends="flush", simple_path=True, layer=1, datatype=0))  # M1
dc_sfq.add(gdstk.FlexPath([(0,-56.4),(0,-60)], 2.8, ends="flush", simple_path=True, layer=1, datatype=0))  # M1
dc_sfq.add(gdstk.FlexPath([(0,-69.6),(0,-57)], 1, ends="flush", simple_path=True, layer=1, datatype=0))  # M1
dc_sfq.add(gdstk.FlexPath([(-11.5,-60),(-11.5,-75.3),(11.3,-75.3),(11.3,-60)], 1, ends="flush", simple_path=True, layer=1, datatype=0))  # M1
dc_sfq.add(gdstk.FlexPath([(24,-17.2),(24,-29.3)], 1.4, ends="flush", simple_path=True, layer=3, datatype=0))  # I1
dc_sfq.add(gdstk.FlexPath([(-28.5,-46.3),(-28.5,-21.2)], 1.4, ends="flush", simple_path=True, layer=3, datatype=0))  # I1
dc_sfq.add(gdstk.FlexPath([(28.5,-46.3),(28.5,-32.2)], 1.4, ends="flush", simple_path=True, layer=3, datatype=0))  # I1
dc_sfq.add(gdstk.FlexPath([(-15.3,-50),(15.3,-50)], 1.4, ends="flush", simple_path=True, layer=3, datatype=0))  # I1
dc_sfq.add(gdstk.FlexPath([(0,-57.1),(0,-59.3)], 1.4, ends="flush", simple_path=True, layer=3, datatype=0))  # I1
dc_sfq.add(gdstk.FlexPath([(0,-57.1),(0,-59.3)], 1.4, ends="flush", simple_path=True, layer=3, datatype=0))  # I1
dc_sfq.add(gdstk.FlexPath([(24,-17),(24,-29.5)], 1.8, ends="flush", simple_path=True, layer=8, datatype=0))  # I2
dc_sfq.add(gdstk.FlexPath([(-28.5,-46.5),(-28.5,-21)], 1.8, ends="flush", simple_path=True, layer=8, datatype=0))  # I2
dc_sfq.add(gdstk.FlexPath([(28.5,-46.5),(28.5,-32)], 1.8, ends="flush", simple_path=True, layer=8, datatype=0))  # I2
dc_sfq.add(gdstk.FlexPath([(-15.5,-50),(15.5,-50)], 1.8, ends="flush", simple_path=True, layer=8, datatype=0))  # I2
dc_sfq.add(gdstk.FlexPath([(0,-56.9),(0,-59.5)], 1.8, ends="flush", simple_path=True, layer=8, datatype=0))  # I2
dc_sfq.add(gdstk.FlexPath([(0,-56.9),(0,-59.5)], 1.8, ends="flush", simple_path=True, layer=8, datatype=0))  # I2
dc_sfq.add(gdstk.FlexPath([(24,-16.5),(24,-30)], 2.8, ends="flush", simple_path=True, layer=10, datatype=0))  # M3
dc_sfq.add(gdstk.FlexPath([(-28.5,-47),(-28.5,-20.5)], 2.8, ends="flush", simple_path=True, layer=10, datatype=0))  # M3
dc_sfq.add(gdstk.FlexPath([(28.5,-47),(28.5,-31.5)], 2.8, ends="flush", simple_path=True, layer=10, datatype=0))  # M3
dc_sfq.add(gdstk.FlexPath([(-16,-50),(16,-50)], 2.8, ends="flush", simple_path=True, layer=10, datatype=0))  # M3
dc_sfq.add(gdstk.FlexPath([(0,-56.4),(0,-60)], 2.8, ends="flush", simple_path=True, layer=10, datatype=0))  # M3
dc_sfq.add(gdstk.FlexPath([(0,-56.4),(0,-60)], 2.8, ends="flush", simple_path=True, layer=10, datatype=0))  # M3
dc_sfq.add(gdstk.FlexPath([(-21.8,-8.5),(-30,-8.5)], 1, ends="flush", simple_path=True, layer=34, datatype=0))  # MN1
dc_sfq.add(gdstk.FlexPath([(22.7,-8.5),(30,-8.5)], 1, ends="flush", simple_path=True, layer=34, datatype=0))  # MN1
dc_sfq.add(gdstk.FlexPath([(-3.5,-22.4),(-3.5,-13.5)], 2, ends="flush", simple_path=True, layer=34, datatype=0))  # MN1
dc_sfq.add(gdstk.FlexPath([(3.5,-22.4),(3.5,-13.5)], 2, ends="flush", simple_path=True, layer=34, datatype=0))  # MN1
dc_sfq.add(gdstk.FlexPath([(-25.5,-18),(-30,-18)], 1, ends="flush", simple_path=True, layer=34, datatype=0))  # MN1
dc_sfq.add(gdstk.FlexPath([(-2.3,-22.9),(-1,-22.9),(-1,-19.8),(1,-19.8),(1,-22.9),(2.3,-22.9)], 1, ends="flush", simple_path=True, layer=34, datatype=0))  # MN1
dc_sfq.add(gdstk.FlexPath([(-3.4,-33.2),(-3.4,-29.8)], 1.8, ends="flush", simple_path=True, layer=34, datatype=0))  # MN1
dc_sfq.add(gdstk.FlexPath([(3.4,-29.8),(3.4,-33.2)], 2.2, ends="flush", simple_path=True, layer=34, datatype=0))  # MN1
dc_sfq.add(gdstk.FlexPath([(-3.4,-38.2),(-3.4,-35.4)], 2.2, ends="flush", simple_path=True, layer=34, datatype=0))  # MN1
dc_sfq.add(gdstk.FlexPath([(3.4,-38.2),(3.4,-35.4)], 2.2, ends="flush", simple_path=True, layer=34, datatype=0))  # MN1
dc_sfq.add(gdstk.FlexPath([(-22,-39),(-30,-39)], 1, ends="flush", simple_path=True, layer=34, datatype=0))  # MN1
dc_sfq.add(gdstk.FlexPath([(22,-39),(30,-39)], 1, ends="flush", simple_path=True, layer=34, datatype=0))  # MN1
dc_sfq.add(gdstk.FlexPath([(-3.4,-42.4),(-3.4,-40.4)], 2.2, ends="flush", simple_path=True, layer=34, datatype=0))  # MN1
dc_sfq.add(gdstk.FlexPath([(3.4,-42.4),(3.4,-40.4)], 2.2, ends="flush", simple_path=True, layer=34, datatype=0))  # MN1
dc_sfq.add(gdstk.FlexPath([(-3.4,-52.7),(-3.4,-44.6)], 2.2, ends="flush", simple_path=True, layer=34, datatype=0))  # MN1
dc_sfq.add(gdstk.FlexPath([(3.4,-52.7),(3.4,-44.6)], 2.2, ends="flush", simple_path=True, layer=34, datatype=0))  # MN1
dc_sfq.add(gdstk.FlexPath([(0,0),(0,-18.5)], 0.6, ends="flush", simple_path=True, layer=30, datatype=0))  # M0
dc_sfq.add(gdstk.FlexPath([(6.5,-31),(27,-31),(27,-13)], 0.6, ends="flush", simple_path=True, layer=30, datatype=0))  # M0
dc_sfq.add(gdstk.FlexPath([(-24.6,-21),(-24.6,-31),(-6,-31)], 0.6, ends="flush", simple_path=True, layer=30, datatype=0))  # M0
dc_sfq.add(gdstk.FlexPath([(0,-25),(0,-47.5)], 0.6, ends="flush", simple_path=True, layer=30, datatype=0))  # M0
dc_sfq.add(gdstk.FlexPath([(-21.5,-42),(-6,-42)], 0.6, ends="flush", simple_path=True, layer=30, datatype=0))  # M0
dc_sfq.add(gdstk.FlexPath([(-2.5,-80.5),(-16,-80.5),(-16,-62),(-28,-62),(-28,-47.5)], 0.6, ends="flush", simple_path=True, layer=30, datatype=0))  # M0
dc_sfq.add(gdstk.FlexPath([(2.5,-80.5),(16,-80.5),(16,-62),(28,-62),(28,-47.5)], 0.6, ends="flush", simple_path=True, layer=30, datatype=0))  # M0
dc_sfq.add(gdstk.FlexPath([(24,-17.4),(24,-29.1)], 1, ends="flush", simple_path=True, layer=31, datatype=0))  # I0
dc_sfq.add(gdstk.FlexPath([(-28.5,-46.1),(-28.5,-21.4)], 1, ends="flush", simple_path=True, layer=31, datatype=0))  # I0
dc_sfq.add(gdstk.FlexPath([(28.5,-46.1),(28.5,-32.4)], 1, ends="flush", simple_path=True, layer=31, datatype=0))  # I0
dc_sfq.add(gdstk.FlexPath([(-15.1,-50),(15.1,-50)], 1, ends="flush", simple_path=True, layer=31, datatype=0))  # I0
dc_sfq.add(gdstk.FlexPath([(0,-57.3),(0,-59.1)], 1, ends="flush", simple_path=True, layer=31, datatype=0))  # I0
dc_sfq.add(gdstk.FlexPath([(0,-57.3),(0,-59.1)], 1, ends="flush", simple_path=True, layer=31, datatype=0))  # I0
dc_sfq.add(gdstk.Reference(ak_qc6vm21, (3.5,-26.6)))
dc_sfq.add(gdstk.Reference(ak_qc6vm21, (-19.5,-38.9), rotation=pi/2))
dc_sfq.add(gdstk.Reference(ak_qc6vm21, (-3.5,-26.6), rotation=pi, x_reflection=True))
dc_sfq.add(gdstk.Reference(ak_qc6vm21, (-21.8,-18.2), rotation=pi/2))
dc_sfq.add(gdstk.Reference(ak_qc6vm21, (0,-69.6), rotation=pi, x_reflection=True))
dc_sfq.add(gdstk.Reference(ak_qc6vm21, (19.5,-38.9), rotation=pi/2, x_reflection=True))
dc_sfq.add(gdstk.Reference(ak_qc6p02j14sgu, (7.8,-34.1), rotation=3*pi/2, x_reflection=True))
dc_sfq.add(gdstk.Reference(ak_qc6p02j14sgu, (-7.8,-34.1), rotation=3*pi/2))
dc_sfq.add(gdstk.Reference(ak_qc6mon11, (0,-80), rotation=pi))
dc_sfq.add(gdstk.Reference(ak_qc6vm1mn1, (3.4,-34.3), rotation=pi, x_reflection=True))
dc_sfq.add(gdstk.Reference(ak_qc6vm1mn1, (3.4,-53.8), rotation=pi, x_reflection=True))
dc_sfq.add(gdstk.Reference(ak_qc6vm1mn1, (-3.4,-23.5)))
dc_sfq.add(gdstk.Reference(ak_qc6vm1mn1, (3.4,-23.5), rotation=pi, x_reflection=True))
dc_sfq.add(gdstk.Reference(ak_qc6vm1mn1, (-3.4,-28.7), rotation=pi/2, x_reflection=True))
dc_sfq.add(gdstk.Reference(ak_qc6vm1mn1, (-22.2,-38.9), rotation=3*pi/2))
dc_sfq.add(gdstk.Reference(ak_qc6vm1mn1, (-3.4,-53.8)))
dc_sfq.add(gdstk.Reference(ak_qc6vm1mn1, (3.4,-28.7), rotation=pi/2, x_reflection=True))
dc_sfq.add(gdstk.Reference(ak_qc6vm1mn1, (-3.4,-43.5)))
dc_sfq.add(gdstk.Reference(ak_qc6vm1mn1, (-3.4,-39.3)))
dc_sfq.add(gdstk.Reference(ak_qc6vm1mn1, (22.2,-38.9), rotation=3*pi/2, x_reflection=True))
dc_sfq.add(gdstk.Reference(ak_qc6vm1mn1, (3.4,-39.3), rotation=pi, x_reflection=True))
dc_sfq.add(gdstk.Reference(ak_qc6vm1mn1, (3.4,-43.5), rotation=pi, x_reflection=True))
dc_sfq.add(gdstk.Reference(ak_qc6vm1mn1, (-24.5,-18.2), rotation=3*pi/2))
dc_sfq.add(gdstk.Reference(ak_qc6vm1mn1, (-3.4,-34.3)))
dc_sfq.add(gdstk.Reference(ak_qc6p01j43sgu, (24,-42.8), rotation=pi, x_reflection=True))
dc_sfq.add(gdstk.Reference(ak_qc6p01j43sgu, (-24,-42.8)))
dc_sfq.add(gdstk.Reference(ak_qc6p02j00sgu, (-7.8,-22.8), rotation=3*pi/2))
dc_sfq.add(gdstk.Reference(ak_qc6p02j77s0v70, (15.6,-38.9), rotation=pi/2, x_reflection=True))
dc_sfq.add(gdstk.Reference(ak_qc6p02j77s0v70, (-15.6,-38.9), rotation=pi/2))
dc_sfq.add(gdstk.Reference(ak_qc6p01j50sgu, (4.2,-58.2), rotation=3*pi/2, x_reflection=True))
dc_sfq.add(gdstk.Reference(ak_qc6p01j50sgu, (-4.2,-58.2), rotation=3*pi/2))
dc_sfq.add(gdstk.Reference(ak_qc6p02j20sgu, (7.8,-22.8), rotation=pi/2))
dc_sfq.add(gdstk.Reference(ak_qc6p02j00s, (7.8,-27.4), rotation=pi/2))
dc_sfq.add(gdstk.Reference(ak_qc6p02j00s, (-7.8,-27.4), rotation=3*pi/2))
dc_sfq.add(gdstk.Reference(ak_qc6p01j79s0v70, (-17.8,-18.2), rotation=pi/2))
dc_sfq.add(gdstk.Reference(ak_qc6ctl000, (3.5,-13.5), rotation=pi/2, x_reflection=True))
dc_sfq.add(gdstk.Reference(ak_qc6ctl000, (-3.5,-13.5), rotation=pi/2))

lib.write_gds('dc_sfq.gds')
